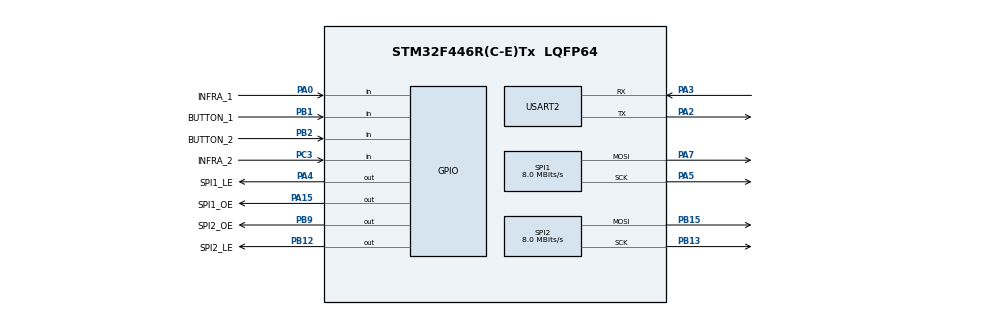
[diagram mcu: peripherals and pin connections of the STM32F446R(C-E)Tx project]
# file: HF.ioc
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Mcu.Family=STM32F4
Mcu.Name=STM32F446R(C-E)Tx
Mcu.Package=LQFP64
NVIC.PriorityGroup=NVIC_PRIORITYGROUP_4
NVIC.TIM2_IRQn=true\:0\:0\:false\:false\:true\:true\:true\:true
NVIC.USART2_IRQn=true\:0\:0\:false\:false\:true\:true\:true\:true
PA0-WKUP.GPIO_Label=INFRA_1
PA0-WKUP.Signal=GPIO_Input
PA15.GPIO_Label=SPI1_OE
PA15.Signal=GPIO_Output
PA2.Mode=Asynchronous
PA2.Signal=USART2_TX
PA3.Mode=Asynchronous
PA3.Signal=USART2_RX
PA4.GPIO_Label=SPI1_LE
PA4.Signal=GPIO_Output
PA5.Mode=TX_Only_Simplex_Unidirect_Master
PA5.Signal=SPI1_SCK
PA7.Mode=TX_Only_Simplex_Unidirect_Master
PA7.Signal=SPI1_MOSI
PB1.GPIO_Label=BUTTON_1
PB1.Signal=GPIO_Input
PB12.GPIO_Label=SPI2_LE
PB12.Signal=GPIO_Output
PB13.Mode=TX_Only_Simplex_Unidirect_Master
PB13.Signal=SPI2_SCK
PB15.Mode=TX_Only_Simplex_Unidirect_Master
PB15.Signal=SPI2_MOSI
PB2.GPIO_Label=BUTTON_2
PB2.Signal=GPIO_Input
PB9.GPIO_Label=SPI2_OE
PB9.Signal=GPIO_Output
PC3.GPIO_Label=INFRA_2
PC3.Signal=GPIO_Input
PH0-OSC_IN.Mode=HSE-External-Oscillator
PH0-OSC_IN.Signal=RCC_OSC_IN
PH1-OSC_OUT.Mode=HSE-External-Oscillator
PH1-OSC_OUT.Signal=RCC_OSC_OUT
ProjectManager.HeapSize=0x200
ProjectManager.StackSize=0x400
ProjectManager.TargetToolchain=STM32CubeIDE
RCC.CortexFreq_Value=16000000
RCC.PWR_Regulator_Voltage_Scale=PWR_REGULATOR_VOLTAGE_SCALE1
RCC.USBFreq_Value=96000000
RCC.VCOOutputFreq_Value=192000000
SPI1.CalculateBaudRate=8.0 MBits/s
SPI1.Direction=SPI_DIRECTION_2LINES
SPI1.Mode=SPI_MODE_MASTER
SPI1.VirtualType=VM_MASTER
SPI2.CalculateBaudRate=8.0 MBits/s
SPI2.Direction=SPI_DIRECTION_2LINES
SPI2.Mode=SPI_MODE_MASTER
SPI2.VirtualType=VM_MASTER
TIM2.Period=1599
TIM2.Prescaler=999
USART2.VirtualMode=VM_ASYNC
VP_TIM2_VS_ClockSourceINT.Mode=Internal
board=custom

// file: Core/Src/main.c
/* USER CODE BEGIN Header */
/**
  ******************************************************************************
  * @file           : main.c
  * @brief          : Main program body
  ******************************************************************************
  * @attention
  *
  * Copyright (c) 2023 STMicroelectronics.
  * All rights reserved.
  *
  * This software is licensed under terms that can be found in the LICENSE file
  * in the root directory of this software component.
  * If no LICENSE file comes with this software, it is provided AS-IS.
  *
  ******************************************************************************
  */
/* USER CODE END Header */
#include "main.h"

/* USER CODE BEGIN Includes */
#include <stdio.h>
#include <stdatomic.h> // Include atomic support for volatile values
#include <stdlib.h>
/* USER CODE END Includes */

/* USER CODE BEGIN PTD */
typedef struct {
	uint8_t prev_node;
	uint8_t next_node;
	uint8_t progress; // 0 - 100 %
} Position;

typedef struct {
	float velocity; // reference
	float output;
} VelocityController;

typedef struct {
	float angle; // reference
	float output;
} AngleController;
/* USER CODE END PTD */

/* USER CODE BEGIN PM */
#define MESSAGE_TYPE_POSITION 0x01
#define MESSAGE_TYPE_VELOCITY 0x02
#define MESSAGE_TYPE_ANGLE 0x03
#define MESSAGE_TYPE_RESPONSE 0x04
/* USER CODE END PM */

SPI_HandleTypeDef hspi1;
SPI_HandleTypeDef hspi2;

TIM_HandleTypeDef htim2;

UART_HandleTypeDef huart2;

/* USER CODE BEGIN PV */
volatile atomic_uint_least8_t system_state = 1; // 0: STOP, 1: START
volatile uint8_t uart_rx_buffer[32];
volatile uint8_t uart_rx_index = 0;
/* USER CODE END PV */

void SystemClock_Config(void);
static void MX_GPIO_Init(void);
static void MX_SPI1_Init(void);
static void MX_SPI2_Init(void);
static void MX_TIM2_Init(void);
static void MX_USART2_UART_Init(void);

/* USER CODE BEGIN 0 */

// | Header (0xA55A) | Packet Length | 0x04 (Type) | Data Length | Timestamp | "START_OK"/"STOP_OK" | CRC |

void HAL_UART_RxCpltCallback(UART_HandleTypeDef *huart)
{
    if(huart == &huart2)
    {
        // New character
        uint8_t received_char = uart_rx_buffer[uart_rx_index];

        if(received_char == '\r') // End char
        {
            // Buffer end
            uart_rx_buffer[uart_rx_index] = '\0'; // String end

            if(strstr((char*)uart_rx_buffer, "START") != NULL) {
				atomic_store(&system_state, 1);

				// Send response
				const char *response = "START_OK";
				create_packet_and_send(MESSAGE_TYPE_RESPONSE, response, strlen(response));
			}
			else if(strstr((char*)uart_rx_buffer, "STOP") != NULL) {
				atomic_store(&system_state, 0);

				// Send response
				const char *response = "STOP_OK";
				create_packet_and_send(MESSAGE_TYPE_RESPONSE, response, strlen(response));
			}

            uart_rx_index = 0; // Reset buffer index
            memset((void*)uart_rx_buffer, 0, sizeof(uart_rx_buffer)); // Reset buffer
        }
        else
        {
            if(uart_rx_index < sizeof(uart_rx_buffer)-1)
            {
                uart_rx_index++;
            }
            else
            {
                // Buffer overflow, reset
                uart_rx_index = 0;
            }
        }

        // Receive next
        HAL_UART_Receive_IT(&huart2, (uint8_t*)&uart_rx_buffer[uart_rx_index], 1);
    }
}

void HAL_UART_TxCpltCallback(UART_HandleTypeDef *huart)
{
	if (huart == &huart2)
	{
		// Transmission completed
	}
}
#define NODE_COUNT (sizeof(nodes)/sizeof(nodes[0]))
#define PATH_LENGTH 8

// List of points
const char nodes[] = {'A','B','C','D','E','F','G','H','I','J','K','L','M','N','O','P','Q','R', 'S'};
// Node order in nodes[]: A,B,C,D,E,F,G,H,I,J,K,L,M,N,O,P,Q,R,S
// Index:                0 1 2 3 4 5 6 7 8 9 10 11 12 13 14 15 16 17 18

#define NO_NEIGHBOR 255

const uint8_t neighbors[19][5] = {
    /* A */ { 1, 2, 3, NO_NEIGHBOR, NO_NEIGHBOR },          // B, C, D
    /* B */ { 0, 3, 4, NO_NEIGHBOR, NO_NEIGHBOR },          // A, D, E
    /* C */ { 0, 5, 7, NO_NEIGHBOR, NO_NEIGHBOR },			// A, F, H
    /* D */ { 0, 1, 5, 6, 8 },          					// A, B, F, I, G
    /* E */ { 1, 6, 9, NO_NEIGHBOR, NO_NEIGHBOR },          // B, G, J
    /* F */ { 2, 3, 7, 8, 6 },                    			// C, D, H, I, G
    /* G */ { 5, 3, 4, 9, 8 },                   			// F, D, E, J, I
    /* H */ { 2, 12, 5, 10, NO_NEIGHBOR },                  // C, M, F, K
    /* I */ { 3, 5, 6, 10, 11 },                            // D, F, G, K, L
    /* J */ { 4, 11, 14, 6, NO_NEIGHBOR },        			// E, L, O, G
    /* K */ { 7, 8, 12, 13, 11 },                  			// H, I, M, N, L
    /* L */ { 10, 8, 9, 13, 14 },                   		// K, I, J, N, O
    /* M */ { 7, 10, 16, 15, NO_NEIGHBOR },        			// H, K, Q, P
    /* N */ { 10, 11, 16, 17, 8 },                			// K, L, Q, R, I
    /* O */ { 9, 17, 18, 11, NO_NEIGHBOR },        			// J, R, S, L
    /* P */ { 16, 12, NO_NEIGHBOR, NO_NEIGHBOR, NO_NEIGHBOR }, // Q, M
    /* Q */ { 12, 13, 15, 17, NO_NEIGHBOR },       			// M, N, P, R
    /* R */ { 13, 14, 18, 16, NO_NEIGHBOR },       			// N, O, S, Q
    /* S */ { 14, 17, NO_NEIGHBOR, NO_NEIGHBOR, NO_NEIGHBOR }, // O, R
};

// Path (indexes in node array)
uint8_t current_node = 18; // e.g., start at 'S'
uint8_t prev_node = 18;    // initialize to same as current_node
uint8_t next_node;
uint8_t progress = 0;

// Returns a random neighbor of `node`, excluding `prev_node` if possible.
// If there are no other neighbors, returns prev_node (so you "bounce back").
uint8_t get_random_neighbor(uint8_t node, uint8_t prev_node) {
    uint8_t possible[5];
    uint8_t count = 0;
    // Collect all valid neighbors except prev_node
    for (uint8_t i = 0; i < 5; ++i) {
        uint8_t n = neighbors[node][i];
        if (n != NO_NEIGHBOR && n != prev_node) {
            possible[count++] = n;
        }
    }
    if (count == 0) {
        // Only possible move is to go back to prev_node
        return prev_node;
    }
    // Pick a random neighbor from the possible ones
    return possible[rand() % count];
}

float random_float(float min, float max)
{
	return min + ((float)rand() / (float)RAND_MAX) * (max - min);
}

void HAL_TIM_PeriodElapsedCallback(TIM_HandleTypeDef *htim)
{
	// Send command only in START mode system_sate = 1
	if (htim->Instance == TIM2 && system_state)
	{
		// 100 ms passed
		if (progress >= 100)
		{
			progress = 0;
			// Move to next node
			prev_node = current_node;
			current_node = next_node;
			next_node = get_random_neighbor(current_node, prev_node);
		}

		Position pos;
		pos.prev_node = nodes[current_node];
		pos.next_node = nodes[next_node];
		pos.progress = progress++;
		create_packet_and_send(MESSAGE_TYPE_POSITION, &pos, sizeof(Position));

		VelocityController vc;
		vc.velocity = 50.0f;
		vc.output = random_float(vc.velocity - 10.0f, vc.velocity + 10.0f);
		create_packet_and_send(MESSAGE_TYPE_VELOCITY, &vc, sizeof(VelocityController));

		AngleController ac;
		ac.angle = 30.0f;
		ac.output = random_float(ac.angle - 10.0f, ac.angle + 10.0f);
		create_packet_and_send(MESSAGE_TYPE_ANGLE, &ac, sizeof(AngleController));
	}
}

uint16_t calculate_crc(const uint8_t *data, uint16_t length)
{
	uint16_t crc = 0xFFFF;
	for (uint16_t i = 0; i < length; i++)
	{
		crc ^= data[i];
		for (uint8_t j = 0; j < 8; j++)
		{
			if (crc & 1)
				crc = (crc >> 1) ^ 0xA001;
			else
				crc >>= 1;
		}
	}
	return crc;
}

void transmit_UART_message(uint8_t *packet, uint16_t packet_length)
{
	HAL_UART_Transmit(&huart2, packet, packet_length, HAL_MAX_DELAY);
}

void create_packet_and_send(uint8_t data_type, const void* data, uint16_t data_length)
{
	uint8_t header[2] = {0xA5, 0x5A};
	uint32_t time_stamp = HAL_GetTick();
	// header(2) + packet_length(2) + data_type(1) + data_length(2) + time_stamp(4) + data(data_length) + CRC(2)
	uint16_t packet_length = 2 + 2 + 1 + 2 + 4 + data_length + 2;
	uint8_t packet[256] = {0};
	uint16_t offset = 0;

	// Header
	memcpy(packet + offset, header, sizeof(header));
	offset += sizeof(header);

	// Packet length
	packet[offset++] = (packet_length >> 8) & 0xFF;
	packet[offset++] = packet_length & 0xFF;

	// Data type
	packet[offset++] = data_type;

	// Data length
	packet[offset++] = (data_length >> 8) & 0xFF;
	packet[offset++] = data_length & 0xFF;

	// Time stamp
	packet[offset++] = (time_stamp >> 24) & 0xFF;
	packet[offset++] = (time_stamp >> 16) & 0xFF;
	packet[offset++] = (time_stamp >> 8) & 0xFF;
	packet[offset++] = time_stamp & 0xFF;

	// Data
	memcpy(packet + offset, data, data_length);
	offset += data_length;

	// CRC
	uint16_t crc = calculate_crc(packet, offset);
	packet[offset++] = crc & 0xFF;
	packet[offset++] = (crc >> 8) & 0xFF;

	// Send to UART
	transmit_UART_message(packet, packet_length);
}

/* USER CODE END 0 */

int main(void)
{

  /* MCU Configuration--------------------------------------------------------*/

  /* Reset of all peripherals, Initializes the Flash interface and the Systick. */
  HAL_Init();

  /* USER CODE BEGIN Init */
  next_node = get_random_neighbor(current_node, prev_node);
  /* USER CODE END Init */

  /* Configure the system clock */
  SystemClock_Config();

  /* Initialize all configured peripherals */
  MX_GPIO_Init();
  MX_SPI1_Init();
  MX_SPI2_Init();
  MX_TIM2_Init();
  MX_USART2_UART_Init();
  /* USER CODE BEGIN 2 */
  HAL_NVIC_SetPriority(TIM2_IRQn, 0, 0);
  HAL_NVIC_EnableIRQ(TIM2_IRQn);
  HAL_TIM_Base_Start_IT(&htim2);
  // Start first receive
  HAL_UART_Receive_IT(&huart2, (uint8_t*)&uart_rx_buffer[0], 1);
  /* USER CODE END 2 */

  /* Infinite loop */
  while (1)
  {

  }
}

void SystemClock_Config(void)
{
  RCC_OscInitTypeDef RCC_OscInitStruct = {0};
  RCC_ClkInitTypeDef RCC_ClkInitStruct = {0};

  /** Configure the main internal regulator output voltage
  */
  __HAL_RCC_PWR_CLK_ENABLE();
  __HAL_PWR_VOLTAGESCALING_CONFIG(PWR_REGULATOR_VOLTAGE_SCALE1);

  /** Initializes the RCC Oscillators according to the specified parameters
  * in the RCC_OscInitTypeDef structure.
  */
  RCC_OscInitStruct.OscillatorType = RCC_OSCILLATORTYPE_HSI;
  RCC_OscInitStruct.HSIState = RCC_HSI_ON;
  RCC_OscInitStruct.HSICalibrationValue = RCC_HSICALIBRATION_DEFAULT;
  RCC_OscInitStruct.PLL.PLLState = RCC_PLL_NONE;
  if (HAL_RCC_OscConfig(&RCC_OscInitStruct) != HAL_OK)
  {
    Error_Handler();
  }

  /** Initializes the CPU, AHB and APB buses clocks
  */
  RCC_ClkInitStruct.ClockType = RCC_CLOCKTYPE_HCLK|RCC_CLOCKTYPE_SYSCLK
                              |RCC_CLOCKTYPE_PCLK1|RCC_CLOCKTYPE_PCLK2;
  RCC_ClkInitStruct.SYSCLKSource = RCC_SYSCLKSOURCE_HSI;
  RCC_ClkInitStruct.AHBCLKDivider = RCC_SYSCLK_DIV1;
  RCC_ClkInitStruct.APB1CLKDivider = RCC_HCLK_DIV1;
  RCC_ClkInitStruct.APB2CLKDivider = RCC_HCLK_DIV1;

  if (HAL_RCC_ClockConfig(&RCC_ClkInitStruct, FLASH_LATENCY_0) != HAL_OK)
  {
    Error_Handler();
  }
}

static void MX_SPI1_Init(void)
{

  /* SPI1 parameter configuration*/
  hspi1.Instance = SPI1;
  hspi1.Init.Mode = SPI_MODE_MASTER;
  hspi1.Init.Direction = SPI_DIRECTION_2LINES;
  hspi1.Init.DataSize = SPI_DATASIZE_8BIT;
  hspi1.Init.CLKPolarity = SPI_POLARITY_LOW;
  hspi1.Init.CLKPhase = SPI_PHASE_1EDGE;
  hspi1.Init.NSS = SPI_NSS_SOFT;
  hspi1.Init.BaudRatePrescaler = SPI_BAUDRATEPRESCALER_2;
  hspi1.Init.FirstBit = SPI_FIRSTBIT_MSB;
  hspi1.Init.TIMode = SPI_TIMODE_DISABLE;
  hspi1.Init.CRCCalculation = SPI_CRCCALCULATION_DISABLE;
  hspi1.Init.CRCPolynomial = 10;
  if (HAL_SPI_Init(&hspi1) != HAL_OK)
  {
    Error_Handler();
  }

}

static void MX_SPI2_Init(void)
{

  /* SPI2 parameter configuration*/
  hspi2.Instance = SPI2;
  hspi2.Init.Mode = SPI_MODE_MASTER;
  hspi2.Init.Direction = SPI_DIRECTION_2LINES;
  hspi2.Init.DataSize = SPI_DATASIZE_8BIT;
  hspi2.Init.CLKPolarity = SPI_POLARITY_LOW;
  hspi2.Init.CLKPhase = SPI_PHASE_1EDGE;
  hspi2.Init.NSS = SPI_NSS_SOFT;
  hspi2.Init.BaudRatePrescaler = SPI_BAUDRATEPRESCALER_2;
  hspi2.Init.FirstBit = SPI_FIRSTBIT_MSB;
  hspi2.Init.TIMode = SPI_TIMODE_DISABLE;
  hspi2.Init.CRCCalculation = SPI_CRCCALCULATION_DISABLE;
  hspi2.Init.CRCPolynomial = 10;
  if (HAL_SPI_Init(&hspi2) != HAL_OK)
  {
    Error_Handler();
  }

}

static void MX_TIM2_Init(void)
{

  TIM_ClockConfigTypeDef sClockSourceConfig = {0};
  TIM_MasterConfigTypeDef sMasterConfig = {0};

  htim2.Instance = TIM2;
  htim2.Init.Prescaler = 999; // 999 - 100 ms
  htim2.Init.CounterMode = TIM_COUNTERMODE_UP;
  htim2.Init.Period = 1599; // 1599 . 100 ms
  htim2.Init.ClockDivision = TIM_CLOCKDIVISION_DIV1;
  htim2.Init.AutoReloadPreload = TIM_AUTORELOAD_PRELOAD_DISABLE;
  if (HAL_TIM_Base_Init(&htim2) != HAL_OK)
  {
    Error_Handler();
  }
  sClockSourceConfig.ClockSource = TIM_CLOCKSOURCE_INTERNAL;
  if (HAL_TIM_ConfigClockSource(&htim2, &sClockSourceConfig) != HAL_OK)
  {
    Error_Handler();
  }
  sMasterConfig.MasterOutputTrigger = TIM_TRGO_RESET;
  sMasterConfig.MasterSlaveMode = TIM_MASTERSLAVEMODE_DISABLE;
  if (HAL_TIMEx_MasterConfigSynchronization(&htim2, &sMasterConfig) != HAL_OK)
  {
    Error_Handler();
  }

}

static void MX_USART2_UART_Init(void)
{

  /* USER CODE BEGIN USART2_Init 0 */
  __HAL_RCC_USART2_CLK_ENABLE(); // Enable USART2 clock
  __HAL_RCC_GPIOA_CLK_ENABLE(); // Enable GPIOA clock
  __HAL_UART_ENABLE_IT(&huart2, UART_IT_RXNE); // Enable UART receive interrupt
  /* USER CODE END USART2_Init 0 */

  /* USER CODE BEGIN USART2_Init 1 */
  GPIO_InitTypeDef GPIO_InitStruct = {0};
  // Configure PA2 (USART2_TX)
  GPIO_InitStruct.Pin = GPIO_PIN_2;
  GPIO_InitStruct.Mode = GPIO_MODE_AF_PP;
  GPIO_InitStruct.Pull = GPIO_NOPULL;
  GPIO_InitStruct.Speed = GPIO_SPEED_FREQ_VERY_HIGH;
  GPIO_InitStruct.Alternate = GPIO_AF7_USART2;
  HAL_GPIO_Init(GPIOB, &GPIO_InitStruct);

  // Configure PA3 (USART2_RX)
  GPIO_InitStruct.Pin = GPIO_PIN_3;
  GPIO_InitStruct.Mode = GPIO_MODE_AF_PP;
  GPIO_InitStruct.Pull = GPIO_NOPULL;
  GPIO_InitStruct.Speed = GPIO_SPEED_FREQ_VERY_HIGH;
  GPIO_InitStruct.Alternate = GPIO_AF7_USART2;
  HAL_GPIO_Init(GPIOB, &GPIO_InitStruct);
  /* USER CODE END USART2_Init 1 */
  huart2.Instance = USART2;
  huart2.Init.BaudRate = 115200;
  huart2.Init.WordLength = UART_WORDLENGTH_8B;
  huart2.Init.StopBits = UART_STOPBITS_1;
  huart2.Init.Parity = UART_PARITY_NONE;
  huart2.Init.Mode = UART_MODE_TX_RX;
  huart2.Init.HwFlowCtl = UART_HWCONTROL_NONE;
  huart2.Init.OverSampling = UART_OVERSAMPLING_16;
  if (HAL_UART_Init(&huart2) != HAL_OK)
  {
    Error_Handler();
  }
  /* USER CODE BEGIN USART2_Init 2 */
  HAL_NVIC_SetPriority(USART2_IRQn, 0, 0);
  HAL_NVIC_EnableIRQ(USART2_IRQn);
  /* USER CODE END USART2_Init 2 */

}

static void MX_GPIO_Init(void)
{
  GPIO_InitTypeDef GPIO_InitStruct = {0};

  /* GPIO Ports Clock Enable */
  __HAL_RCC_GPIOH_CLK_ENABLE();
  __HAL_RCC_GPIOC_CLK_ENABLE();
  __HAL_RCC_GPIOA_CLK_ENABLE();
  __HAL_RCC_GPIOB_CLK_ENABLE();

  /*Configure GPIO pin Output Level */
  HAL_GPIO_WritePin(GPIOA, SPI1_LE_Pin|SPI1_OE_Pin, GPIO_PIN_RESET);

  /*Configure GPIO pin Output Level */
  HAL_GPIO_WritePin(GPIOB, SPI2_LE_Pin|SPI2_OE_Pin, GPIO_PIN_RESET);

  /*Configure GPIO pin : INFRA_2_Pin */
  GPIO_InitStruct.Pin = INFRA_2_Pin;
  GPIO_InitStruct.Mode = GPIO_MODE_INPUT;
  GPIO_InitStruct.Pull = GPIO_NOPULL;
  HAL_GPIO_Init(INFRA_2_GPIO_Port, &GPIO_InitStruct);

  /*Configure GPIO pin : INFRA_1_Pin */
  GPIO_InitStruct.Pin = INFRA_1_Pin;
  GPIO_InitStruct.Mode = GPIO_MODE_INPUT;
  GPIO_InitStruct.Pull = GPIO_NOPULL;
  HAL_GPIO_Init(INFRA_1_GPIO_Port, &GPIO_InitStruct);

  /*Configure GPIO pins : SPI1_LE_Pin SPI1_OE_Pin */
  GPIO_InitStruct.Pin = SPI1_LE_Pin|SPI1_OE_Pin;
  GPIO_InitStruct.Mode = GPIO_MODE_OUTPUT_PP;
  GPIO_InitStruct.Pull = GPIO_NOPULL;
  GPIO_InitStruct.Speed = GPIO_SPEED_FREQ_LOW;
  HAL_GPIO_Init(GPIOA, &GPIO_InitStruct);

  /*Configure GPIO pins : BUTTON_1_Pin BUTTON_2_Pin */
  GPIO_InitStruct.Pin = BUTTON_1_Pin|BUTTON_2_Pin;
  GPIO_InitStruct.Mode = GPIO_MODE_INPUT;
  GPIO_InitStruct.Pull = GPIO_NOPULL;
  HAL_GPIO_Init(GPIOB, &GPIO_InitStruct);

  /*Configure GPIO pins : SPI2_LE_Pin SPI2_OE_Pin */
  GPIO_InitStruct.Pin = SPI2_LE_Pin|SPI2_OE_Pin;
  GPIO_InitStruct.Mode = GPIO_MODE_OUTPUT_PP;
  GPIO_InitStruct.Pull = GPIO_NOPULL;
  GPIO_InitStruct.Speed = GPIO_SPEED_FREQ_LOW;
  HAL_GPIO_Init(GPIOB, &GPIO_InitStruct);

}

void Error_Handler(void)
{
  __disable_irq();
  while (1)
  {
  }
}
